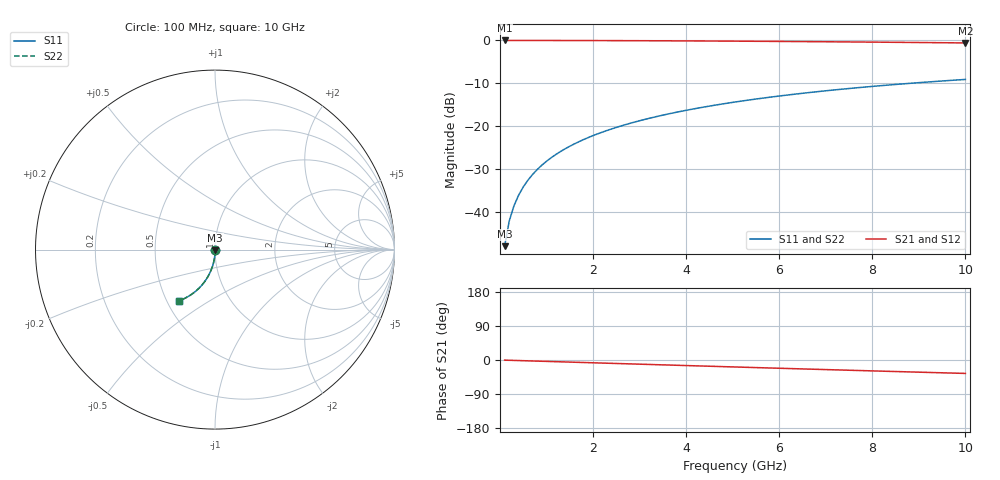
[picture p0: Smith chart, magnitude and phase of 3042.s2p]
# Hz S RI R 50.00
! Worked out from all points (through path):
!   100 points, 100 MHz to 10 GHz, reference 50 ohm
!   highest |S21| = -0.01 dB at 100 MHz (marker M1); lowest = -0.6 dB at 10 GHz (marker M2)
!   group delay of S21, straight-line fit = 9.87 ps
!   lowest |S11| = -48.1 dB at 100 MHz (marker M3), VSWR 1.01, Z = 50.1 - j0.389 ohm
!   |S11| at or under -10 dB: start of sweep to 8.837 GHz
!   |S22| runs from -48.1 to -9.1 dB; largest |S21 - S12| = 0
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1e8  0.000732 -0.00388  0.9992 -0.00642  0.9992 -0.00642  0.000732 -0.00388
2e8  0.000657 -0.00777  0.9991 -0.0128  0.9991 -0.0128  0.000657 -0.00777
3e8  0.000531 -0.0116  0.999 -0.0193  0.999 -0.0193  0.000531 -0.0116
4e8  0.000355 -0.0155  0.9988 -0.0257  0.9988 -0.0257  0.000355 -0.0155
5e8  0.000128 -0.0194  0.9985 -0.0321  0.9985 -0.0321  0.000128 -0.0194
6e8  -0.000148 -0.0233  0.9982 -0.0385  0.9982 -0.0385  -0.000148 -0.0233
7e8  -0.000474 -0.0271  0.9978 -0.0449  0.9978 -0.0449  -0.000474 -0.0271
8e8  -0.000851 -0.031  0.9974 -0.0513  0.9974 -0.0513  -0.000851 -0.031
9e8  -0.00128 -0.0349  0.9969 -0.0577  0.9969 -0.0577  -0.00128 -0.0349
1.1e9  -0.00228 -0.0426  0.9958 -0.0705  0.9958 -0.0705  -0.00228 -0.0426
1.4e9  -0.00414 -0.054  0.9936 -0.0896  0.9936 -0.0896  -0.00414 -0.054
1.8e9  -0.00732 -0.0692  0.99 -0.1149  0.99 -0.1149  -0.00732 -0.0692
2.1e9  -0.0102 -0.0805  0.9868 -0.1338  0.9868 -0.1338  -0.0102 -0.0805
2.5e9  -0.0147 -0.0952  0.9817 -0.1587  0.9817 -0.1587  -0.0147 -0.0952
2.9e9  -0.0199 -0.1097  0.9757 -0.1834  0.9757 -0.1834  -0.0199 -0.1097
3.4e9  -0.0275 -0.1274  0.9671 -0.2138  0.9671 -0.2138  -0.0275 -0.1274
4.2e9  -0.0418 -0.1544  0.9508 -0.2612  0.9508 -0.2612  -0.0418 -0.1544
5.1e9  -0.0608 -0.1827  0.929 -0.3125  0.929 -0.3125  -0.0608 -0.1827
5.9e9  -0.0801 -0.2056  0.9068 -0.3559  0.9068 -0.3559  -0.0801 -0.2056
6.7e9  -0.1013 -0.2264  0.8822 -0.3972  0.8822 -0.3972  -0.1013 -0.2264
8.4e9  -0.1514 -0.2623  0.8234 -0.4771  0.8234 -0.4771  -0.1514 -0.2623
1e10  -0.2026 -0.2856  0.762 -0.5421  0.762 -0.5421  -0.2026 -0.2856
